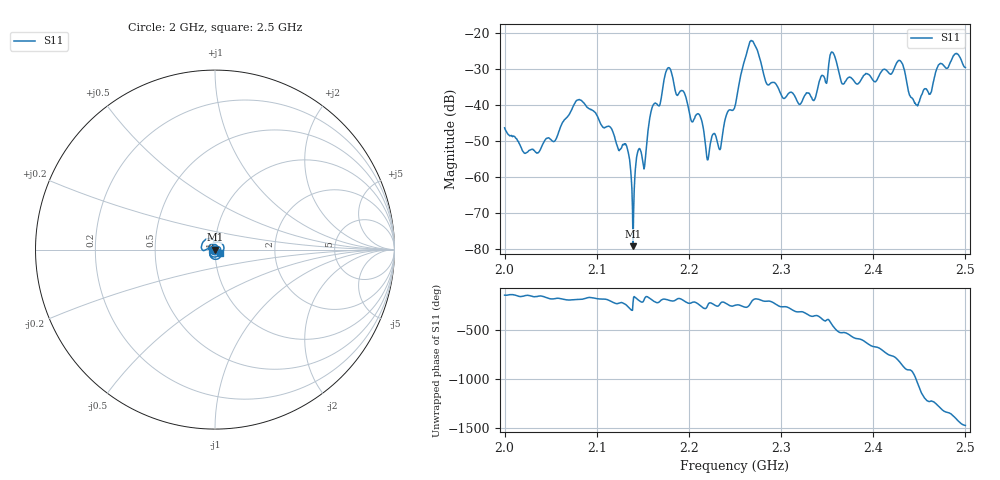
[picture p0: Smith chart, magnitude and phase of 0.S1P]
! C:\Users\rflab\Downloads\dp2_kdzw\0.S1P
! Touchstone 1.1 file saved by VNA.EXE V1.65 (www.ke5fx.com/gpib/readme.htm)
! 12/12/2024 6:41:43 PM
!  Source: HEWLETT PACKARD,8753D,0,6.14
!  Min freq: 2.000000E+009 Hz
!  Max freq: 2.500000E+009 Hz
!  Points: 801
!  Params: S21
# GHZ S MA R 50
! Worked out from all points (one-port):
!   801 points, 2 GHz to 2.5 GHz, reference 50 ohm
!   lowest |S11| = -79.2 dB at 2.139 GHz (marker M1), VSWR 1.00, Z = 50 + j0.00591 ohm
!   |S11| at or under -10 dB: start of sweep to end of sweep
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2  0.004845 -137.4
2.035625  0.002169 -150.9
2.0625  0.005639 -176.6
2.081875  0.0118 179.2
2.125  0.002429 142.4
2.133125  0.002506 111.6
2.139375  0.00011 147.5
2.144375  0.002222 178.9
2.151875  0.001401 -172.6
2.159375  0.00858 177.6
2.175625  0.03031 178.6
2.1875  0.01364 -175.6
2.211875  0.007194 118.0
2.220625  0.00174 123.2
2.23375  0.002408 132.3
2.25  0.009709 117.6
2.268125  0.07863 157.2
2.285  0.0194 160.5
2.3125  0.01479 69.3
2.33625  0.01192 10.3
2.355625  0.05432 -86.6
2.36625  0.01981 -163.8
2.375  0.02438 168.6
2.42875  0.04181 -105.0
2.4375  0.01713 174.6
2.4475  0.01001 49.8
2.471875  0.03726 149.7
2.5  0.03334 -37.5
